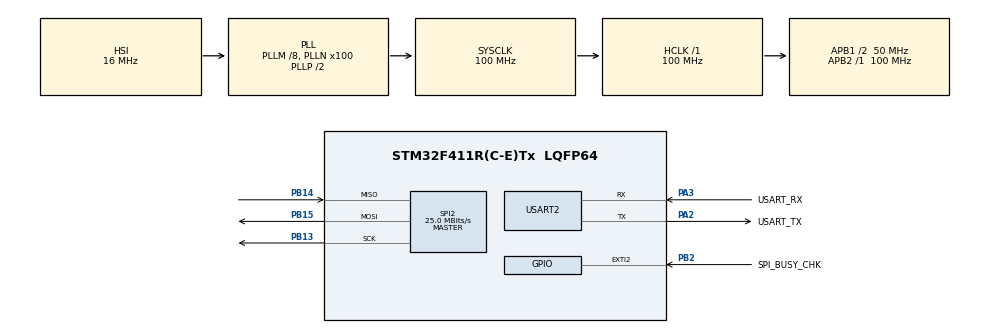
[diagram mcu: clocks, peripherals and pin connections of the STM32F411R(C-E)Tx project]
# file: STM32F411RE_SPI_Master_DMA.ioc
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3rdParty.I-CUBE-CoreMark.0.1.0.ApplicationCcDeviceJjApplication=CoreMarkApp
3rdParty.I-CUBE-CoreMark.0.1.0.ITERATIONS=5000
3rdParty.I-CUBE-CoreMark.0.1.0.PRINTF_UART_PORT=huart2
3rdParty.I-CUBE-CoreMark.0.1.0.UtilityJjMISC=true
Dma.Request0=SPI2_TX
Dma.SPI2_TX.0.Direction=DMA_MEMORY_TO_PERIPH
Dma.SPI2_TX.0.FIFOMode=DMA_FIFOMODE_DISABLE
Dma.SPI2_TX.0.Instance=DMA1_Stream4
Dma.SPI2_TX.0.MemDataAlignment=DMA_MDATAALIGN_BYTE
Dma.SPI2_TX.0.MemInc=DMA_MINC_ENABLE
Dma.SPI2_TX.0.Mode=DMA_NORMAL
Dma.SPI2_TX.0.PeriphDataAlignment=DMA_PDATAALIGN_BYTE
Dma.SPI2_TX.0.PeriphInc=DMA_PINC_DISABLE
Dma.SPI2_TX.0.Priority=DMA_PRIORITY_LOW
FREERTOS.BinarySemaphores01=coremark_start_sem,Dynamic,NULL;spi_start_sem,Dynamic,NULL
FREERTOS.Tasks01=mainTask,24,2048,StartMainTask,Default,NULL,Dynamic,NULL,NULL;coremarkTask,8,4096,StartcoremarkTask,Default,NULL,Dynamic,NULL,NULL
FREERTOS.configTOTAL_HEAP_SIZE=98304
Mcu.Family=STM32F4
Mcu.Name=STM32F411R(C-E)Tx
Mcu.Package=LQFP64
NVIC.DMA1_Stream4_IRQn=true\:5\:0\:false\:false\:true\:true\:false\:true\:true
NVIC.EXTI2_IRQn=true\:5\:0\:false\:false\:true\:true\:true\:true\:true
NVIC.PriorityGroup=NVIC_PRIORITYGROUP_4
NVIC.SPI2_IRQn=true\:5\:0\:false\:false\:true\:true\:true\:true\:true
NVIC.TIM4_IRQn=true\:15\:0\:false\:false\:true\:false\:false\:true\:true
NVIC.TimeBase=TIM4_IRQn
NVIC.TimeBaseIP=TIM4
PA13.GPIO_Label=TMS
PA13.Mode=Serial_Wire
PA13.Signal=SYS_JTMS-SWDIO
PA14.GPIO_Label=TCK
PA14.Mode=Serial_Wire
PA14.Signal=SYS_JTCK-SWCLK
PA2.GPIO_Label=USART_TX
PA2.Mode=Asynchronous
PA2.Signal=USART2_TX
PA3.GPIO_Label=USART_RX
PA3.Mode=Asynchronous
PA3.Signal=USART2_RX
PB13.Mode=Full_Duplex_Master
PB13.Signal=SPI2_SCK
PB14.Mode=Full_Duplex_Master
PB14.Signal=SPI2_MISO
PB15.Mode=Full_Duplex_Master
PB15.Signal=SPI2_MOSI
PB2.GPIO_Label=SPI_BUSY_CHK
PB2.GPIO_ModeDefaultEXTI=GPIO_MODE_IT_RISING
PB2.Signal=GPXTI2
PB3.GPIO_Label=SWO
PB3.Signal=SYS_JTDO-SWO
PC14-OSC32_IN.Mode=LSE-External-Oscillator
PC14-OSC32_IN.Signal=RCC_OSC32_IN
PC15-OSC32_OUT.Mode=LSE-External-Oscillator
PC15-OSC32_OUT.Signal=RCC_OSC32_OUT
PH0\ -\ OSC_IN.Mode=HSE-External-Clock-Source
PH0\ -\ OSC_IN.Signal=RCC_OSC_IN
PH1\ -\ OSC_OUT.Mode=HSE-External-Clock-Source
PH1\ -\ OSC_OUT.Signal=RCC_OSC_OUT
ProjectManager.HeapSize=0x200
ProjectManager.StackSize=0x400
ProjectManager.TargetToolchain=MDK-ARM V5.32
RCC.48MHZClocksFreq_Value=50000000
RCC.AHBFreq_Value=100000000
RCC.APB1CLKDivider=RCC_HCLK_DIV2
RCC.APB1Freq_Value=50000000
RCC.APB1TimFreq_Value=100000000
RCC.APB2Freq_Value=100000000
RCC.APB2TimFreq_Value=100000000
RCC.CortexFreq_Value=100000000
RCC.FLatency-AdvancedSettings=FLASH_LATENCY_3
RCC.HCLKFreq_Value=100000000
RCC.HSE_VALUE=8000000
RCC.HSI_VALUE=16000000
RCC.PLLM=8
RCC.PLLN=100
RCC.SYSCLKFreq_VALUE=100000000
RCC.SYSCLKSource=RCC_SYSCLKSOURCE_PLLCLK
RCC.VCOOutputFreq_Value=200000000
SPI2.BaudRatePrescaler=SPI_BAUDRATEPRESCALER_2
SPI2.CalculateBaudRate=25.0 MBits/s
SPI2.Direction=SPI_DIRECTION_2LINES
SPI2.Mode=SPI_MODE_MASTER
SPI2.VirtualType=VM_MASTER
USART2.VirtualMode=VM_ASYNC
VP_3rdParty.I-CUBE-CoreMark_VS_DeviceJjApplication_0.1.0_0.1.0.Mode=DeviceJjApplication
VP_3rdParty.I-CUBE-CoreMark_VS_UtilityJjMISC_0.1.0_0.1.0.Mode=UtilityJjMISC
VP_FREERTOS_VS_CMSIS_V2.Mode=CMSIS_V2
VP_SYS_VS_tim4.Mode=TIM4
board=NUCLEO-F411RE

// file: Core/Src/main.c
/* USER CODE BEGIN Header */
/**
  ******************************************************************************
  * @file           : main.c
  * @brief          : Main program body
  ******************************************************************************
  * @attention
  *
  * Copyright (c) 2023 STMicroelectronics.
  * All rights reserved.
  *
  * This software is licensed under terms that can be found in the LICENSE file
  * in the root directory of this software component.
  * If no LICENSE file comes with this software, it is provided AS-IS.
  *
  ******************************************************************************
  */
/* USER CODE END Header */
#include "main.h"
#include "cmsis_os.h"
#include "app_coremarkapp.h"

/* USER CODE BEGIN Includes */
#include <stdio.h>
#include <stdlib.h>
/* USER CODE BEGIN Includes */

/* USER CODE BEGIN PD */
#define BUFFERSIZE 2048
/* USER CODE END PD */

SPI_HandleTypeDef hspi2;
DMA_HandleTypeDef hdma_spi2_tx;

UART_HandleTypeDef huart2;

/* Definitions for mainTask */
osThreadId_t mainTaskHandle;
const osThreadAttr_t mainTask_attributes = {
  .name = "mainTask",
  .stack_size = 2048 * 4,
  .priority = (osPriority_t) osPriorityNormal,
};
/* Definitions for coremarkTask */
osThreadId_t coremarkTaskHandle;
const osThreadAttr_t coremarkTask_attributes = {
  .name = "coremarkTask",
  .stack_size = 4096 * 4,
  .priority = (osPriority_t) osPriorityLow,
};
/* Definitions for coremark_start_sem */
osSemaphoreId_t coremark_start_semHandle;
const osSemaphoreAttr_t coremark_start_sem_attributes = {
  .name = "coremark_start_sem"
};
/* Definitions for spi_start_sem */
osSemaphoreId_t spi_start_semHandle;
const osSemaphoreAttr_t spi_start_sem_attributes = {
  .name = "spi_start_sem"
};

void SystemClock_Config(void);
static void MX_GPIO_Init(void);
static void MX_DMA_Init(void);
static void MX_USART2_UART_Init(void);
static void MX_SPI2_Init(void);
void StartMainTask(void *argument);
void StartcoremarkTask(void *argument);

/* USER CODE BEGIN 0 */
uint8_t aTxBuffer[BUFFERSIZE];
static uint64_t send_cnt = 0;

struct __FILE {
    int dummy;
};

/* You need this if you want use printf */
/* Struct FILE is implemented in stdio.h */
FILE __stdout;

int fputc(int ch, FILE *f)
{
  /* Place your implementation of fputc here */
  /* e.g. write a character to the EVAL_COM1 and Loop until the end of transmission */
  HAL_UART_Transmit(&huart2, (uint8_t *)&ch, 1, 0xFFFF);

  return ch;
}

void HAL_SPI_TxCpltCallback(SPI_HandleTypeDef *hspi)
{
	if(hspi->Instance == SPI2) {
		send_cnt++;
		//printf("%s\r\n", __func__);
		//		task_time_ms = HAL_GetTick();
		//		printf("=>after send : %d\n", task_time_ms);
	}
}

void HAL_GPIO_EXTI_Callback(uint16_t GPIO_Pin)
{
	if(GPIO_Pin == SPI_BUSY_CHK_Pin)
	{
		//printf("%s\r\n", __func__);
		osSemaphoreRelease(spi_start_semHandle);
	}
}
/* USER CODE END 0 */

int main(void)
{

  /* MCU Configuration--------------------------------------------------------*/

  /* Reset of all peripherals, Initializes the Flash interface and the Systick. */
  HAL_Init();

  /* Configure the system clock */
  SystemClock_Config();

  /* Initialize all configured peripherals */
  MX_GPIO_Init();
  MX_DMA_Init();
  MX_USART2_UART_Init();
  MX_SPI2_Init();
  //MX_CoreMarkApp_Init();

  /* Init scheduler */
  osKernelInitialize();

  /* Create the semaphores(s) */
  /* creation of coremark_start_sem */
  coremark_start_semHandle = osSemaphoreNew(1, 0, &coremark_start_sem_attributes);

  /* creation of spi_start_sem */
  spi_start_semHandle = osSemaphoreNew(1, 0, &spi_start_sem_attributes);

  /* Create the thread(s) */
  /* creation of mainTask */
  mainTaskHandle = osThreadNew(StartMainTask, NULL, &mainTask_attributes);

  /* creation of coremarkTask */
  coremarkTaskHandle = osThreadNew(StartcoremarkTask, NULL, &coremarkTask_attributes);

  /* Start scheduler */
  osKernelStart();

  /* We should never get here as control is now taken by the scheduler */
  /* Infinite loop */
  while (1)
  {

  }
}

void SystemClock_Config(void)
{
  RCC_OscInitTypeDef RCC_OscInitStruct = {0};
  RCC_ClkInitTypeDef RCC_ClkInitStruct = {0};

  /** Configure the main internal regulator output voltage
  */
  __HAL_RCC_PWR_CLK_ENABLE();
  __HAL_PWR_VOLTAGESCALING_CONFIG(PWR_REGULATOR_VOLTAGE_SCALE1);

  /** Initializes the RCC Oscillators according to the specified parameters
  * in the RCC_OscInitTypeDef structure.
  */
  RCC_OscInitStruct.OscillatorType = RCC_OSCILLATORTYPE_HSI;
  RCC_OscInitStruct.HSIState = RCC_HSI_ON;
  RCC_OscInitStruct.HSICalibrationValue = RCC_HSICALIBRATION_DEFAULT;
  RCC_OscInitStruct.PLL.PLLState = RCC_PLL_ON;
  RCC_OscInitStruct.PLL.PLLSource = RCC_PLLSOURCE_HSI;
  RCC_OscInitStruct.PLL.PLLM = 8;
  RCC_OscInitStruct.PLL.PLLN = 100;
  RCC_OscInitStruct.PLL.PLLP = RCC_PLLP_DIV2;
  RCC_OscInitStruct.PLL.PLLQ = 4;
  if (HAL_RCC_OscConfig(&RCC_OscInitStruct) != HAL_OK)
  {
    Error_Handler();
  }

  /** Initializes the CPU, AHB and APB buses clocks
  */
  RCC_ClkInitStruct.ClockType = RCC_CLOCKTYPE_HCLK|RCC_CLOCKTYPE_SYSCLK
                              |RCC_CLOCKTYPE_PCLK1|RCC_CLOCKTYPE_PCLK2;
  RCC_ClkInitStruct.SYSCLKSource = RCC_SYSCLKSOURCE_PLLCLK;
  RCC_ClkInitStruct.AHBCLKDivider = RCC_SYSCLK_DIV1;
  RCC_ClkInitStruct.APB1CLKDivider = RCC_HCLK_DIV2;
  RCC_ClkInitStruct.APB2CLKDivider = RCC_HCLK_DIV1;

  if (HAL_RCC_ClockConfig(&RCC_ClkInitStruct, FLASH_LATENCY_3) != HAL_OK)
  {
    Error_Handler();
  }
}

static void MX_SPI2_Init(void)
{

  /* SPI2 parameter configuration*/
  hspi2.Instance = SPI2;
  hspi2.Init.Mode = SPI_MODE_MASTER;
  hspi2.Init.Direction = SPI_DIRECTION_2LINES;
  hspi2.Init.DataSize = SPI_DATASIZE_8BIT;
  hspi2.Init.CLKPolarity = SPI_POLARITY_LOW;
  hspi2.Init.CLKPhase = SPI_PHASE_1EDGE;
  hspi2.Init.NSS = SPI_NSS_SOFT;
  hspi2.Init.BaudRatePrescaler = SPI_BAUDRATEPRESCALER_2;
  hspi2.Init.FirstBit = SPI_FIRSTBIT_MSB;
  hspi2.Init.TIMode = SPI_TIMODE_DISABLE;
  hspi2.Init.CRCCalculation = SPI_CRCCALCULATION_DISABLE;
  hspi2.Init.CRCPolynomial = 10;
  if (HAL_SPI_Init(&hspi2) != HAL_OK)
  {
    Error_Handler();
  }

}

static void MX_USART2_UART_Init(void)
{

  huart2.Instance = USART2;
  huart2.Init.BaudRate = 115200;
  huart2.Init.WordLength = UART_WORDLENGTH_8B;
  huart2.Init.StopBits = UART_STOPBITS_1;
  huart2.Init.Parity = UART_PARITY_NONE;
  huart2.Init.Mode = UART_MODE_TX_RX;
  huart2.Init.HwFlowCtl = UART_HWCONTROL_NONE;
  huart2.Init.OverSampling = UART_OVERSAMPLING_16;
  if (HAL_UART_Init(&huart2) != HAL_OK)
  {
    Error_Handler();
  }

}

static void MX_DMA_Init(void)
{

  /* DMA controller clock enable */
  __HAL_RCC_DMA1_CLK_ENABLE();

  /* DMA interrupt init */
  /* DMA1_Stream4_IRQn interrupt configuration */
  HAL_NVIC_SetPriority(DMA1_Stream4_IRQn, 5, 0);
  HAL_NVIC_EnableIRQ(DMA1_Stream4_IRQn);

}

static void MX_GPIO_Init(void)
{
  GPIO_InitTypeDef GPIO_InitStruct = {0};

  /* GPIO Ports Clock Enable */
  __HAL_RCC_GPIOC_CLK_ENABLE();
  __HAL_RCC_GPIOH_CLK_ENABLE();
  __HAL_RCC_GPIOA_CLK_ENABLE();
  __HAL_RCC_GPIOB_CLK_ENABLE();

  /*Configure GPIO pin : SPI_BUSY_CHK_Pin */
  GPIO_InitStruct.Pin = SPI_BUSY_CHK_Pin;
  GPIO_InitStruct.Mode = GPIO_MODE_IT_RISING;
  GPIO_InitStruct.Pull = GPIO_NOPULL;
  HAL_GPIO_Init(SPI_BUSY_CHK_GPIO_Port, &GPIO_InitStruct);

  /* EXTI interrupt init*/
  HAL_NVIC_SetPriority(EXTI2_IRQn, 5, 0);
  HAL_NVIC_EnableIRQ(EXTI2_IRQn);

}

void StartMainTask(void *argument)
{
  /* USER CODE BEGIN 5 */
	uint16_t i = 0;
	uint16_t cnt = 0;
	GPIO_PinState spi_busy_flag = 0;
	uint8_t coremark_start = 0;

	aTxBuffer[0] = 0x30;

	for(i = 0; i < BUFFERSIZE - 1; i++)
	{
		if(aTxBuffer[i] != 0x39)
			aTxBuffer[i+1] = aTxBuffer[i] + 1;
		else
			aTxBuffer[i+1] = 0x30;
	}

  /* Infinite loop */
  for(;;)
  {
		spi_busy_flag = HAL_GPIO_ReadPin(GPIOB, SPI_BUSY_CHK_Pin);
		if(spi_busy_flag == GPIO_PIN_RESET)
		{
			osSemaphoreAcquire(spi_start_semHandle, osWaitForever);
		}
		if(coremark_start == 0)
		{
				osSemaphoreRelease(coremark_start_semHandle);
				coremark_start = 1;
				printf("send cnt : %llu\n", send_cnt);
		}
		HAL_SPI_Transmit_DMA(&hspi2, (uint8_t *)aTxBuffer, BUFFERSIZE);
		while(HAL_SPI_GetState(&hspi2) == HAL_SPI_STATE_BUSY_TX);

		osDelay(10);
	}
  /* USER CODE END 5 */
}

void StartcoremarkTask(void *argument)
{
  /* USER CODE BEGIN StartcoremarkTask */
	osSemaphoreAcquire(coremark_start_semHandle, osWaitForever);
	MX_CoreMarkApp_Init();
	printf("send cnt : %llu\n", send_cnt);
  /* Infinite loop */
  for(;;)
  {
    osDelay(1);
  }
  /* USER CODE END StartcoremarkTask */
}

void HAL_TIM_PeriodElapsedCallback(TIM_HandleTypeDef *htim)
{
  if (htim->Instance == TIM4) {
    HAL_IncTick();
  }
}

void Error_Handler(void)
{
  __disable_irq();
  while (1)
  {
  }
}
